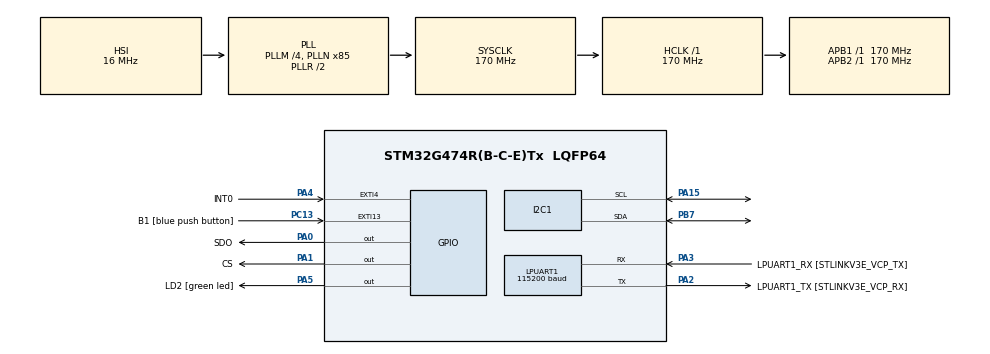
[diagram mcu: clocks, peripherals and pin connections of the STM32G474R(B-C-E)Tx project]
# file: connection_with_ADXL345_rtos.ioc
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Dma.I2C1_RX.0.Direction=DMA_PERIPH_TO_MEMORY
Dma.I2C1_RX.0.EventEnable=DISABLE
Dma.I2C1_RX.0.Instance=DMA1_Channel1
Dma.I2C1_RX.0.MemDataAlignment=DMA_MDATAALIGN_BYTE
Dma.I2C1_RX.0.MemInc=DMA_MINC_ENABLE
Dma.I2C1_RX.0.Mode=DMA_NORMAL
Dma.I2C1_RX.0.PeriphDataAlignment=DMA_PDATAALIGN_BYTE
Dma.I2C1_RX.0.PeriphInc=DMA_PINC_DISABLE
Dma.I2C1_RX.0.Polarity=HAL_DMAMUX_REQ_GEN_RISING
Dma.I2C1_RX.0.Priority=DMA_PRIORITY_LOW
Dma.I2C1_RX.0.RequestNumber=1
Dma.I2C1_RX.0.SignalID=NONE
Dma.I2C1_RX.0.SyncEnable=DISABLE
Dma.I2C1_RX.0.SyncPolarity=HAL_DMAMUX_SYNC_NO_EVENT
Dma.I2C1_RX.0.SyncRequestNumber=1
Dma.I2C1_RX.0.SyncSignalID=NONE
Dma.Request0=I2C1_RX
FREERTOS.Tasks01=defaultTask,24,128,StartDefaultTask,Default,NULL,Dynamic,NULL,NULL
FREERTOS.configCHECK_FOR_STACK_OVERFLOW=2
FREERTOS.configTOTAL_HEAP_SIZE=6144
FREERTOS.configUSE_MALLOC_FAILED_HOOK=1
FREERTOS.configUSE_NEWLIB_REENTRANT=1
I2C1.Timing=0x30A0A7FB
LPUART1.BaudRate=115200
LPUART1.WordLength=UART_WORDLENGTH_8B
Mcu.Family=STM32G4
Mcu.Name=STM32G474R(B-C-E)Tx
Mcu.Package=LQFP64
NVIC.DMA1_Channel1_IRQn=true\:5\:0\:false\:false\:true\:true\:false\:true\:true
NVIC.EXTI15_10_IRQn=true\:5\:0\:false\:false\:true\:true\:true\:true\:true
NVIC.EXTI4_IRQn=true\:5\:0\:false\:false\:true\:true\:true\:true\:true
NVIC.I2C1_ER_IRQn=true\:5\:0\:false\:false\:true\:true\:true\:true\:true
NVIC.I2C1_EV_IRQn=true\:5\:0\:false\:false\:true\:true\:true\:true\:true
NVIC.LPUART1_IRQn=true\:5\:0\:false\:false\:true\:true\:true\:true\:true
NVIC.PriorityGroup=NVIC_PRIORITYGROUP_4
NVIC.TIM6_DAC_IRQn=true\:15\:0\:false\:false\:true\:false\:false\:true\:true
NVIC.TimeBase=TIM6_DAC_IRQn
NVIC.TimeBaseIP=TIM6
PA0.GPIO_Label=SDO
PA0.Signal=GPIO_Output
PA1.GPIO_Label=CS
PA1.Signal=GPIO_Output
PA13.GPIO_Label=T_SWDIO
PA13.Mode=Serial_Wire
PA13.Signal=SYS_JTMS-SWDIO
PA14.GPIO_Label=T_SWCLK
PA14.Mode=Serial_Wire
PA14.Signal=SYS_JTCK-SWCLK
PA15.Mode=I2C
PA15.Signal=I2C1_SCL
PA2.GPIO_Label=LPUART1_TX [STLINKV3E_VCP_RX]
PA2.Mode=Asynchronous
PA2.Signal=LPUART1_TX
PA3.GPIO_Label=LPUART1_RX [STLINKV3E_VCP_TX]
PA3.Mode=Asynchronous
PA3.Signal=LPUART1_RX
PA4.GPIO_Label=INT0
PA4.Signal=GPXTI4
PA5.GPIO_Label=LD2 [green led]
PA5.Signal=GPIO_Output
PB3.GPIO_Label=T_SWO
PB3.Signal=SYS_JTDO-SWO
PB7.Mode=I2C
PB7.Signal=I2C1_SDA
PC13.GPIO_Label=B1 [blue push button]
PC13.Signal=GPXTI13
PC14-OSC32_IN.Mode=LSE-External-Oscillator
PC14-OSC32_IN.Signal=RCC_OSC32_IN
PC15-OSC32_OUT.Mode=LSE-External-Oscillator
PC15-OSC32_OUT.Signal=RCC_OSC32_OUT
PF0-OSC_IN.Mode=HSE-External-Oscillator
PF0-OSC_IN.Signal=RCC_OSC_IN
PF1-OSC_OUT.Mode=HSE-External-Oscillator
PF1-OSC_OUT.Signal=RCC_OSC_OUT
ProjectManager.HeapSize=0x200
ProjectManager.StackSize=0x400
ProjectManager.TargetToolchain=STM32CubeIDE
RCC.ADC12Freq_Value=170000000
RCC.ADC345Freq_Value=170000000
RCC.AHBFreq_Value=170000000
RCC.APB1Freq_Value=170000000
RCC.APB1TimFreq_Value=170000000
RCC.APB2Freq_Value=170000000
RCC.APB2TimFreq_Value=170000000
RCC.CortexFreq_Value=170000000
RCC.EXTERNAL_CLOCK_VALUE=12288000
RCC.HCLKFreq_Value=170000000
RCC.HSE_VALUE=24000000
RCC.HSI48_VALUE=48000000
RCC.HSI_VALUE=16000000
RCC.PLLM=RCC_PLLM_DIV4
RCC.PLLN=85
RCC.RTCClockSelection=RCC_RTCCLKSOURCE_LSE
RCC.SYSCLKFreq_VALUE=170000000
RCC.SYSCLKSource=RCC_SYSCLKSOURCE_PLLCLK
RCC.USBFreq_Value=170000000
RCC.VCOOutputFreq_Value=340000000
VP_FREERTOS_VS_CMSIS_V2.Mode=CMSIS_V2
VP_SYS_VS_DBSignals.Mode=DisableDeadBatterySignals
VP_SYS_VS_tim6.Mode=TIM6
board=NUCLEO-G474RE

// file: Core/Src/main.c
/* USER CODE BEGIN Header */
/**
  ******************************************************************************
  * @file           : main.c
  * @brief          : Main program body
  ******************************************************************************
  * @attention
  *
  * Copyright (c) 2026 STMicroelectronics.
  * All rights reserved.
  *
  * This software is licensed under terms that can be found in the LICENSE file
  * in the root directory of this software component.
  * If no LICENSE file comes with this software, it is provided AS-IS.
  *
  ******************************************************************************
  */
/* USER CODE END Header */
#include "main.h"
#include "cmsis_os.h"
#include "dma.h"
#include "i2c.h"
#include "usart.h"
#include "gpio.h"

/* USER CODE BEGIN Includes */
#include "stdio.h"
#include "ADXL_driver_interface.h"
#include "ADXL_i2c_conn.h"
#include "MeasurementFSM.h"
#include "UART_Communication.h"
/* USER CODE END Includes */

/* USER CODE BEGIN PV */
void HAL_GPIO_EXTI_Callback(uint16_t GPIO_Pin)
{
  if (GPIO_Pin == B1_Pin) {

  }
  else if(GPIO_Pin == INT0_Pin)
  {
	  ADXL_INT1InterruptHandler();
  }
}

void HAL_I2C_MemTxCpltCallback(I2C_HandleTypeDef *hi2c)
{
	if(hi2c == &hi2c1)
	{
		ADXL_I2CTxComplete();
	}
}

void HAL_I2C_MemRxCpltCallback(I2C_HandleTypeDef *hi2c)
{
	if(hi2c == &hi2c1)
	{
		ADXL_I2CRxComplete();
	}
}

void HAL_UART_TxCpltCallback(UART_HandleTypeDef *huart)
{
	if(huart == &hlpuart1)
	{
		UART_ComTxCallback();
	}
}

void HAL_UART_RxCpltCallback(UART_HandleTypeDef *huart)
{
	if(huart == &hlpuart1)
	{
		UART_ComRxCallback();
	}
}
/* USER CODE END PV */

void SystemClock_Config(void);
void MX_FREERTOS_Init(void);

int main(void)
{

  /* MCU Configuration--------------------------------------------------------*/

  /* Reset of all peripherals, Initializes the Flash interface and the Systick. */
  HAL_Init();

  /* Configure the system clock */
  SystemClock_Config();

  /* Initialize all configured peripherals */
  MX_GPIO_Init();
  MX_DMA_Init();
  MX_LPUART1_UART_Init();
  MX_I2C1_Init();

  /* Init scheduler */
  osKernelInitialize();  /* Call init function for freertos objects (in freertos.c) */
  MX_FREERTOS_Init();

  /* Start scheduler */
  osKernelStart();

  /* We should never get here as control is now taken by the scheduler */
  /* Infinite loop */
  while (1)
  {

  }
}

void SystemClock_Config(void)
{
  RCC_OscInitTypeDef RCC_OscInitStruct = {0};
  RCC_ClkInitTypeDef RCC_ClkInitStruct = {0};

  /** Configure the main internal regulator output voltage
  */
  HAL_PWREx_ControlVoltageScaling(PWR_REGULATOR_VOLTAGE_SCALE1_BOOST);

  /** Initializes the RCC Oscillators according to the specified parameters
  * in the RCC_OscInitTypeDef structure.
  */
  RCC_OscInitStruct.OscillatorType = RCC_OSCILLATORTYPE_HSI;
  RCC_OscInitStruct.HSIState = RCC_HSI_ON;
  RCC_OscInitStruct.HSICalibrationValue = RCC_HSICALIBRATION_DEFAULT;
  RCC_OscInitStruct.PLL.PLLState = RCC_PLL_ON;
  RCC_OscInitStruct.PLL.PLLSource = RCC_PLLSOURCE_HSI;
  RCC_OscInitStruct.PLL.PLLM = RCC_PLLM_DIV4;
  RCC_OscInitStruct.PLL.PLLN = 85;
  RCC_OscInitStruct.PLL.PLLP = RCC_PLLP_DIV2;
  RCC_OscInitStruct.PLL.PLLQ = RCC_PLLQ_DIV2;
  RCC_OscInitStruct.PLL.PLLR = RCC_PLLR_DIV2;
  if (HAL_RCC_OscConfig(&RCC_OscInitStruct) != HAL_OK)
  {
    Error_Handler();
  }

  /** Initializes the CPU, AHB and APB buses clocks
  */
  RCC_ClkInitStruct.ClockType = RCC_CLOCKTYPE_HCLK|RCC_CLOCKTYPE_SYSCLK
                              |RCC_CLOCKTYPE_PCLK1|RCC_CLOCKTYPE_PCLK2;
  RCC_ClkInitStruct.SYSCLKSource = RCC_SYSCLKSOURCE_PLLCLK;
  RCC_ClkInitStruct.AHBCLKDivider = RCC_SYSCLK_DIV1;
  RCC_ClkInitStruct.APB1CLKDivider = RCC_HCLK_DIV1;
  RCC_ClkInitStruct.APB2CLKDivider = RCC_HCLK_DIV1;

  if (HAL_RCC_ClockConfig(&RCC_ClkInitStruct, FLASH_LATENCY_4) != HAL_OK)
  {
    Error_Handler();
  }
}

void HAL_TIM_PeriodElapsedCallback(TIM_HandleTypeDef *htim)
{
  if (htim->Instance == TIM6) {
    HAL_IncTick();
  }
}

void Error_Handler(void)
{
  __disable_irq();
  while (1)
  {
  }
}

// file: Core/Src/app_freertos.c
/* USER CODE BEGIN Header */
/**
  ******************************************************************************
  * File Name          : app_freertos.c
  * Description        : Code for freertos applications
  ******************************************************************************
  * @attention
  *
  * Copyright (c) 2026 STMicroelectronics.
  * All rights reserved.
  *
  * This software is licensed under terms that can be found in the LICENSE file
  * in the root directory of this software component.
  * If no LICENSE file comes with this software, it is provided AS-IS.
  *
  ******************************************************************************
  */
/* USER CODE END Header */

#include "FreeRTOS.h"
#include "task.h"
#include "main.h"
#include "cmsis_os.h"

/* USER CODE BEGIN Includes */
#include "MeasurementFSM.h"
/* USER CODE END Includes */

/* Definitions for defaultTask */
osThreadId_t defaultTaskHandle;
const osThreadAttr_t defaultTask_attributes = {
  .name = "defaultTask",
  .priority = (osPriority_t) osPriorityNormal,
  .stack_size = 128 * 4
};

void StartDefaultTask(void *argument);

void MX_FREERTOS_Init(void); /* (MISRA C 2004 rule 8.1) */

/* Hook prototypes */
void vApplicationStackOverflowHook(xTaskHandle xTask, signed char *pcTaskName);
void vApplicationMallocFailedHook(void);

/* USER CODE BEGIN 4 */
void vApplicationStackOverflowHook(xTaskHandle xTask, signed char *pcTaskName)
{
   /* Run time stack overflow checking is performed if
   configCHECK_FOR_STACK_OVERFLOW is defined to 1 or 2. This hook function is
   called if a stack overflow is detected. */
	__BKPT(0);
	for(;;)
	{

	}
}
/* USER CODE END 4 */

/* USER CODE BEGIN 5 */
void vApplicationMallocFailedHook(void)
{
   /* vApplicationMallocFailedHook() will only be called if
   configUSE_MALLOC_FAILED_HOOK is set to 1 in FreeRTOSConfig.h. It is a hook
   function that will get called if a call to pvPortMalloc() fails.
   pvPortMalloc() is called internally by the kernel whenever a task, queue,
   timer or semaphore is created. It is also called by various parts of the
   demo application. If heap_1.c or heap_2.c are used, then the size of the
   heap available to pvPortMalloc() is defined by configTOTAL_HEAP_SIZE in
   FreeRTOSConfig.h, and the xPortGetFreeHeapSize() API function can be used
   to query the size of free heap space that remains (although it does not
   provide information on how the remaining heap might be fragmented). */
	__BKPT(0);
	for(;;)
	{

	}
}
/* USER CODE END 5 */

void MX_FREERTOS_Init(void) {

  /* Create the thread(s) */
  /* creation of defaultTask */
  defaultTaskHandle = osThreadNew(StartDefaultTask, NULL, &defaultTask_attributes);

  MeasurementInitStruct initdata = {16};

  Measurement_Init(&initdata, NULL);

}

void StartDefaultTask(void *argument)
{
  for(;;)
  {
    osDelay(1);
  }
}
